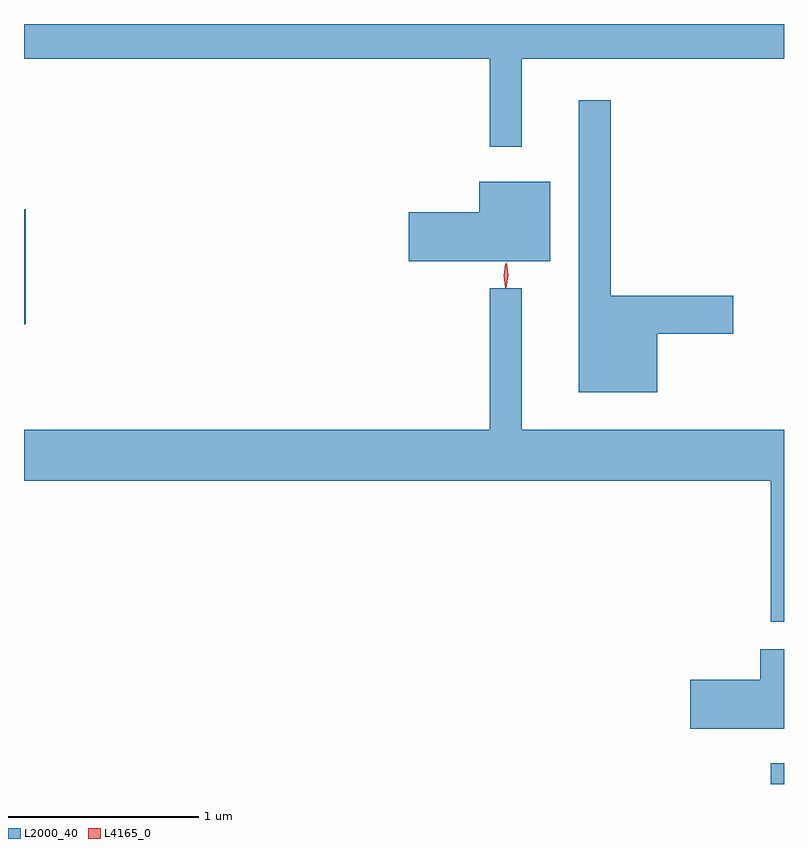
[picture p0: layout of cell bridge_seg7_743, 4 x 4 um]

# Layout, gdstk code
import gdstk
lib = gdstk.Library(unit=1e-6, precision=1e-09)
def R(c, l, rs):  # rectangles x0, y0, x1, y1
    for r in rs: c.add(gdstk.rectangle(r[:2], r[2:], *l))
def P(c, l, *ps):  # polygons
    for p in ps: c.add(gdstk.Polygon(p, *l))
L2000_40 = (2000, 40)
L4165_0 = (4165, 0)

bridge_seg7_743 = lib.new_cell('bridge_seg7_743')
R(bridge_seg7_743, L2000_40, [(465.471,1797.08,465.54,1797.188), (461.54,1799.501,461.549,1800.104)])
P(bridge_seg7_743, L2000_40, [(461.54,1800.896),(463.991,1800.896),(463.991,1800.433),(464.159,1800.433),(464.159,1800.896),(465.54,1800.896),(465.54,1801.08),(461.54,1801.08)],
  [(464.874,1799.451),(465.274,1799.451),(465.274,1799.649),(464.629,1799.649),(464.629,1800.678),(464.461,1800.678),(464.461,1799.141),(464.874,1799.141)],
  [(464.309,1800.249),(463.936,1800.249),(463.936,1800.089),(463.566,1800.089),(463.566,1799.831),(464.309,1799.831)],
  [(465.54,1798.944),(464.159,1798.944),(464.159,1799.688),(463.991,1799.688),(463.991,1798.944),(461.54,1798.944),(461.54,1798.676),(465.471,1798.676),(465.471,1797.933),(465.54,1797.933)],
  [(465.54,1797.789),(465.416,1797.789),(465.416,1797.629),(465.046,1797.629),(465.046,1797.371),(465.54,1797.371)])
P(bridge_seg7_743, L4165_0, [(464.078,1799.69),(464.078,1799.69),(464.069,1799.758),(464.08,1799.826),(464.08,1799.826),(464.081,1799.826),(464.089,1799.758),(464.079,1799.69)],
  [(464.074,1799.693),(464.065,1799.756),(464.074,1799.819),(464.075,1799.82),(464.076,1799.819),(464.085,1799.756),(464.076,1799.693),(464.075,1799.693)])

lib.write_gds('bridge_seg7_743.gds')
